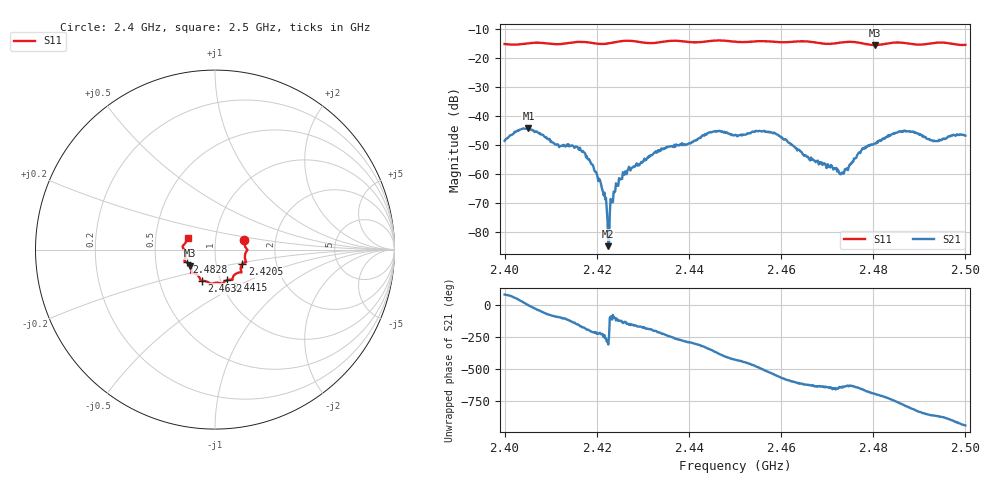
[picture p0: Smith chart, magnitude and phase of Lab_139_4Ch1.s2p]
# Hz S RI R 50
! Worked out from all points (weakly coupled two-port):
!   601 points, 2.4 GHz to 2.5 GHz, reference 50 ohm
!   highest |S21| = -44.35 dB at 2.4052 GHz (marker M1); lowest = -85.0 dB at 2.4225 GHz (marker M2)
!   lowest |S11| = -15.7 dB at 2.4803 GHz (marker M3), VSWR 1.39, Z = 37.4 - j6.83 ohm
!   |S11| at or under -10 dB: start of sweep to end of sweep
!   S12 and S22 are empty: the file has one direction only
!   S11 on the Smith chart (normalised r, x): 2.4 GHz: 1.38, +0.15; 2.4205 GHz: 1.34, -0.22; 2.4415 GHz: 1.07, -0.38; 2.4632 GHz: 0.82, -0.29; 2.4828 GHz: 0.72, -0.10; 2.5 GHz: 0.73, +0.10
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2.4e9  0.1633 0.0516  0.000583 0.00364  0 0  0 0
2.405167e9  0.1766 0.00376  0.00604 -0.000415  0 0  0 0
2.416667e9  0.1729 -0.0697  -0.00241 -0.000509  0 0  0 0
2.4205e9  0.1517 -0.0814  -0.000605 0.000552  0 0  0 0
2.4225e9  0.1435 -0.1  3.58e-05 4.36e-05  0 0  0 0
2.424167e9  0.1444 -0.116  -0.000363 -0.000577  0 0  0 0
2.425333e9  0.1469 -0.1233  -0.000462 -0.000687  0 0  0 0
2.433333e9  0.1006 -0.1516  -0.00215 0.00138  0 0  0 0
2.4415e9  0.0655 -0.1706  0.00216 0.00302  0 0  0 0
2.445833e9  0.0417 -0.1922  0.00521 -0.000897  0 0  0 0
2.45e9  0.0243 -0.1859  0.00171 -0.00434  0 0  0 0
2.458167e9  -0.0324 -0.185  -0.00506 -6.45e-05  0 0  0 0
2.463167e9  -0.0732 -0.174  -0.00118 0.00249  0 0  0 0
2.466667e9  -0.0818 -0.1671  5.62e-05 0.00175  0 0  0 0
2.473167e9  -0.1278 -0.1302  0.000288 0.000997  0 0  0 0
2.477333e9  -0.1311 -0.1202  0.00112 0.00217  0 0  0 0
2.480333e9  -0.1378 -0.089  0.00301 0.00138  0 0  0 0
2.482833e9  -0.1587 -0.0702  0.00424 -0.000289  0 0  0 0
2.483333e9  -0.1626 -0.0682  0.00429 -0.000765  0 0  0 0
2.487333e9  -0.1679 -0.0528  0.00145 -0.00518  0 0  0 0
2.4935e9  -0.1795 0.0123  -0.00304 -0.00197  0 0  0 0
2.5e9  -0.1525 0.0646  -0.00335 0.00305  0 0  0 0
